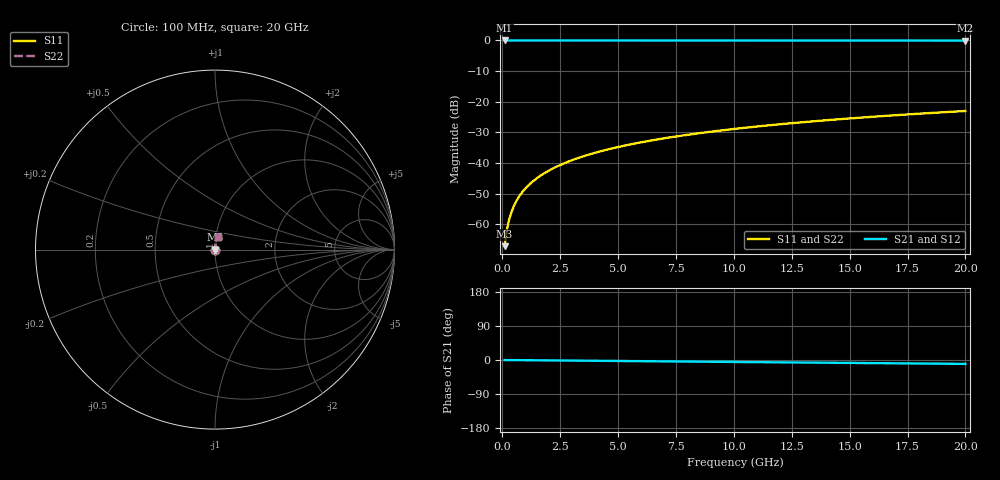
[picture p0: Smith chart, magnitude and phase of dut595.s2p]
! Touchstone file exported from HFSS 2026.1.0
!  File:  C:/ffzhzh/LocalFiles/Ansys_Project_Files/temp_train_TSV_595_1783025285_51716.aedt
!  Generated:  04:49:48 AM Jul  3, 2026
!  Design:  TSV
!  Project:  temp_train_TSV_595_1783025285_51716
! Variables:
!  h_bsmrdl = 2um
!  h_ox = 20um
!  h_rdl = 5um
!  h_sub = 90.2um
!  h_tmrdl = 5um
!  h_tsv = 90.2um
!  h_via = 3um
!  l_bsmrdl = 300um
!  l_sub = 416.76um
!  l_tmrdl = 200um
!  m_sub = 200um
!  pitch = 59.38um
!  r_tsv = 8.38um
!  s_tmrdl = 10um
!  w_bsmrdl = 18um
!  w_sub = 500um
!  w_tmrdl = 12um
!  x_tsv_center1 = 206um
!  x_tsv_center2 = 524um
!  x_tsv_center3 = 736um
!  x_tsv_center4 = 1054um
!  x_tsv_center5 = 1266um
!  x_tsv_center6 = 1584um
# GHz S MA R 50.000000
! Terminal data exported
! Port[1] = TSV1_1_T1
! Port[2] = TSV1_1_T2
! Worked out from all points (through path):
!   200 points, 100 MHz to 20 GHz, reference 50 ohm
!   highest |S21| = 0.00 dB at 100 MHz (marker M1); lowest = 0.0 dB at 20 GHz (marker M2)
!   group delay of S21, straight-line fit = 1.42 ps
!   lowest |S11| = -67.2 dB at 100 MHz (marker M3), VSWR 1.00, Z = 50 + j0.04 ohm
!   |S11| at or under -10 dB: start of sweep to end of sweep
!   |S22| runs from -67.2 to -23.0 dB; largest |S21 - S12| = 3.6e-15
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0.1  0.0004389 65.8  0.9998 -0.1  0.9998 -0.1  0.0004389 65.8
! Gamma 0 0 0 0
! Port Impedance 50 0 50 0
0.2  0.0008211 76.5  0.9998 -0.1  0.9998 -0.1  0.0008211 76.5
0.3  0.001211 80.1  0.9998 -0.2  0.9998 -0.2  0.001211 80.1
0.4  0.0016 81.7  0.9998 -0.2  0.9998 -0.2  0.0016 81.7
0.5  0.001985 82.6  0.9998 -0.3  0.9998 -0.3  0.001985 82.6
0.6  0.002365 83.1  0.9997 -0.3  0.9997 -0.3  0.002365 83.1
0.7  0.002741 83.4  0.9997 -0.4  0.9997 -0.4  0.002741 83.4
0.8  0.003114 83.7  0.9997 -0.4  0.9997 -0.4  0.003114 83.7
1  0.003851 84.1  0.9996 -0.5  0.9996 -0.5  0.003851 84.1
1.4  0.005306 84.6  0.9996 -0.7  0.9996 -0.7  0.005306 84.6
1.7  0.00639 84.9  0.9995 -0.9  0.9995 -0.9  0.00639 84.9
2  0.007472 85.1  0.9995 -1.0  0.9995 -1.0  0.007472 85.1
2.7  0.009992 85.3  0.9994 -1.4  0.9994 -1.4  0.009992 85.3
3.5  0.01287 85.3  0.9993 -1.8  0.9993 -1.8  0.01287 85.3
4.2  0.01537 85.2  0.9992 -2.2  0.9992 -2.2  0.01537 85.2
5  0.01823 85.0  0.9991 -2.6  0.9991 -2.6  0.01823 85.0
6.8  0.02462 84.4  0.9988 -3.5  0.9988 -3.5  0.02462 84.4
8.3  0.02992 83.8  0.9986 -4.3  0.9986 -4.3  0.02992 83.8
10.1  0.03626 83.1  0.9982 -5.2  0.9982 -5.2  0.03626 83.1
13.4  0.04781 81.6  0.9976 -6.9  0.9976 -6.9  0.04781 81.6
16.7  0.05927 80.1  0.9968 -8.6  0.9968 -8.6  0.05927 80.1
20  0.07062 78.5  0.996 -10.2  0.996 -10.2  0.07062 78.5
